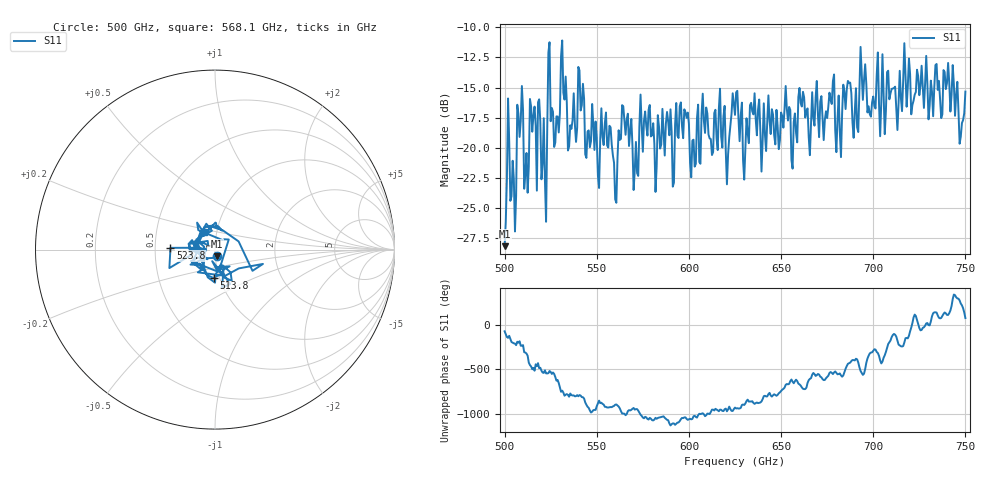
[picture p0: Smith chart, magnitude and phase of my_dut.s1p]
!Created with skrf (http://scikit-rf.org).
# GHz S RI R 50.0
!freq ReS11 ImS11
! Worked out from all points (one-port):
!   401 points, 500 GHz to 750 GHz, reference 50 ohm
!   lowest |S11| = -28.2 dB at 500 GHz (marker M1), VSWR 1.08, Z = 50.8 - j3.84 ohm
!   |S11| at or under -10 dB: start of sweep to end of sweep
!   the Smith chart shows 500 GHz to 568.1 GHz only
!   S11 on the Smith chart (normalised r, x): 500 GHz: 1.02, -0.08; 513.8 GHz: 0.94, -0.31; 523.8 GHz: 0.60, +0.01; 568.1 GHz: 0.87, +0.17
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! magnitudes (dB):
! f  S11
! 500 GHz  -28.2
! 502.5 GHz  -19.5
! 505 GHz  -22.6
! 508.1 GHz  -19.1
! 511.9 GHz  -20.4
! 513.8 GHz  -16.0
! 521.2 GHz  -17.6
! 523.8 GHz  -12.1
! 528.1 GHz  -17.4
! 531.2 GHz  -11.1
! 535.6 GHz  -18.1
! 541.2 GHz  -16.9
! 545 GHz  -18.7
! 553.8 GHz  -19.8
! 560 GHz  -24.3
! 562.5 GHz  -19.4
! 568.1 GHz  -18.6
! 571.2 GHz  -19.5
! 575 GHz  -20.3
! 593.8 GHz  -19.0
! 621.2 GHz  -20.6
! 625 GHz  -17.3
! 630.6 GHz  -20.0
! 634.4 GHz  -17.0
! 656.2 GHz  -21.7
! 687.5 GHz  -14.6
! 718.8 GHz  -14.9
! 750 GHz  -15.3
